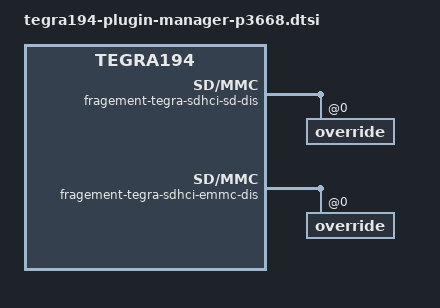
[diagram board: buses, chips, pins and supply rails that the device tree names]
/*
 * Copyright (c) 2019, NVIDIA CORPORATION.  All rights reserved.
 *
 * This program is free software; you can redistribute it and/or modify
 * it under the terms of the GNU General Public License as published by
 * the Free Software Foundation; either version 2 of the License, or
 * (at your option) any later version.
 *
 * This program is distributed in the hope that it will be useful, but WITHOUT
 * ANY WARRANTY; without even the implied warranty of MERCHANTABILITY or
 * FITNESS FOR A PARTICULAR PURPOSE.  See the GNU General Public License for
 * more details.
 *
 */
/ {
	plugin-manager {
		fragement-pmic-wdt-en {
			odm-data = "enable-pmic-wdt";
			override@0 {
				target = <&p3668_spmic_wdt>;
				_overlay_ {
					status = "okay";
				};
			};
		};

		fragement-tegra-wdt-en {
			odm-data = "enable-denver-wdt";
			override@0 {
				target = <&tegra_wdt>;
				_overlay_ {
					status = "okay";
				};
			};
		};

		fragement-tegra-wdt-dis {
			odm-data = "disable-denver-wdt";
			override@0 {
				target = <&tegra_pmc>;
				_overlay_ {
					nvidia,enable-halt-in-fiq;
				};
			};
		};

		fragement-tegra-sdhci-sd-dis {
			ids = ">=3668-0001-000";
			override@0 {
				target = <&sdhci_sd>;
				_overlay_ {
					status = "disabled";
				};
			};
		};

		fragement-tegra-sdhci-emmc-dis {
			ids = ">=3668-0000-000";
			override@0 {
				target = <&sdhci_emmc>;
				_overlay_ {
					status = "disabled";
				};
			};
		};

		fragement-tegra-pcie-c5-num-lanes {
			ids = ">=3449-0000-000";
			override@0 {
				target = <&{/pcie@141a0000}>;
				_overlay_ {
					num-lanes = <1>;
					status = "okay";
				};
			};
			override@1 {
				target = <&{/pcie_ep@141a0000}>;
				_overlay_ {
					status = "disabled";
				};
			};
		};

		fragement-tegra-pcie-c4-dis {
			ids = ">=3449-0000-000";
			override@0 {
				target = <&{/pcie@14160000}>;
				_overlay_ {
					status = "disabled";
				};
			};
		};
	};
};
